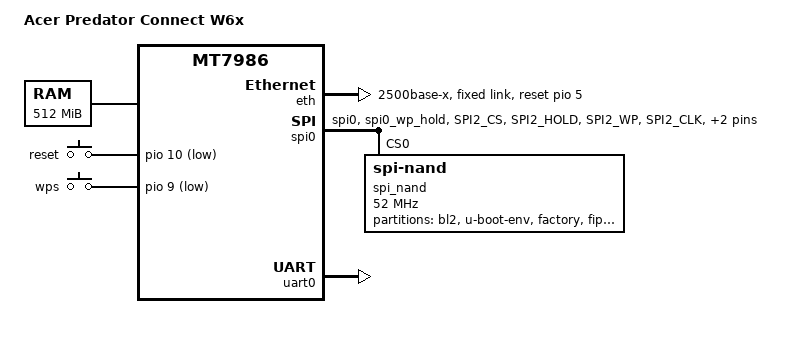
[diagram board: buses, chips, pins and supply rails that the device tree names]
// SPDX-License-Identifier: GPL-2.0-or-later OR MIT

/dts-v1/;
#include <dt-bindings/input/linux-event-codes.h>
#include "mt7986.dtsi"
#include <dt-bindings/gpio/gpio.h>

/ {
	#address-cells = <1>;
	#size-cells = <1>;
	model = "Acer Predator Connect W6x";
	compatible = "mediatek,mt7986", "mediatek,mt7986-sd-rfb";

	chosen {
		stdout-path = &uart0;
		tick-timer = &timer0;
	};

	memory@40000000 {
		device_type = "memory";
		reg = <0x40000000 0x20000000>;
	};

	keys {
		compatible = "gpio-keys";

		factory {
			label = "reset";
			linux,code = <KEY_RESTART>;
			gpios = <&pio 10 GPIO_ACTIVE_LOW>;
		};

		wps {
			label = "wps";
			linux,code = <KEY_WPS_BUTTON>;
			gpios = <&pio 9 GPIO_ACTIVE_LOW>;
		};
	};
};

&eth {
	status = "okay";
	mediatek,gmac-id = <0>;
	phy-mode = "2500base-x";
	mediatek,switch = "mt7531";
	reset-gpios = <&pio 5 GPIO_ACTIVE_HIGH>;

	fixed-link {
		speed = <2500>;
		full-duplex;
	};
};

&pio {
	spic_pins: spi1-pins-func-1 {
		mux {
			function = "spi";
			groups = "spi1_2";
		};
	};

	spi_flash_pins: spi0-pins-func-1 {
		mux {
			function = "flash";
			groups = "spi0", "spi0_wp_hold";
		};

		conf-pu {
			pins = "SPI2_CS", "SPI2_HOLD", "SPI2_WP";
			drive-strength = <MTK_DRIVE_8mA>;
			bias-pull-up = <MTK_PUPD_SET_R1R0_11>;
		};

		conf-pd {
			pins = "SPI2_CLK", "SPI2_MOSI", "SPI2_MISO";
			drive-strength = <MTK_DRIVE_8mA>;
			bias-pull-down = <MTK_PUPD_SET_R1R0_11>;
		};
	};
};

&spi0 {
	#address-cells = <1>;
	#size-cells = <0>;
	pinctrl-names = "default";
	pinctrl-0 = <&spi_flash_pins>;
	status = "okay";
	must_tx;
	enhance_timing;
	dma_ext;
	ipm_design;
	support_quad;
	tick_dly = <1>;
	sample_sel = <0>;
	pinctrl-names = "default";

	spi_nand@0 {
		compatible = "spi-nand";
		reg = <0>;
		spi-max-frequency = <52000000>;
		spi-tx-bus-width = <4>;
		spi-rx-bus-width = <4>;

		partitions {
			compatible = "fixed-partitions";
			#address-cells = <1>;
			#size-cells = <1>;

			partition@0 {
				label = "bl2";
				reg = <0x0 0x100000>;
			};

			partition@100000 {
				label = "u-boot-env";
				reg = <0x100000 0x80000>;
			};

			partition@180000 {
				label = "factory";
				reg = <0x180000 0x200000>;
			};

			partition@380000 {
				label = "fip";
				reg = <0x380000 0x200000>;
			};

			partition@580000 {
				label = "prod";
				reg = <0x580000 0x20000>;
				read-only;
			};

			partition@600000 {
				label = "ubi";
				reg = <0x600000 0xD200000>;
			};
		};
	};
};

&uart0 {
	mediatek,force-highspeed;
	status = "okay";
};

&watchdog {
	status = "disabled";
};
